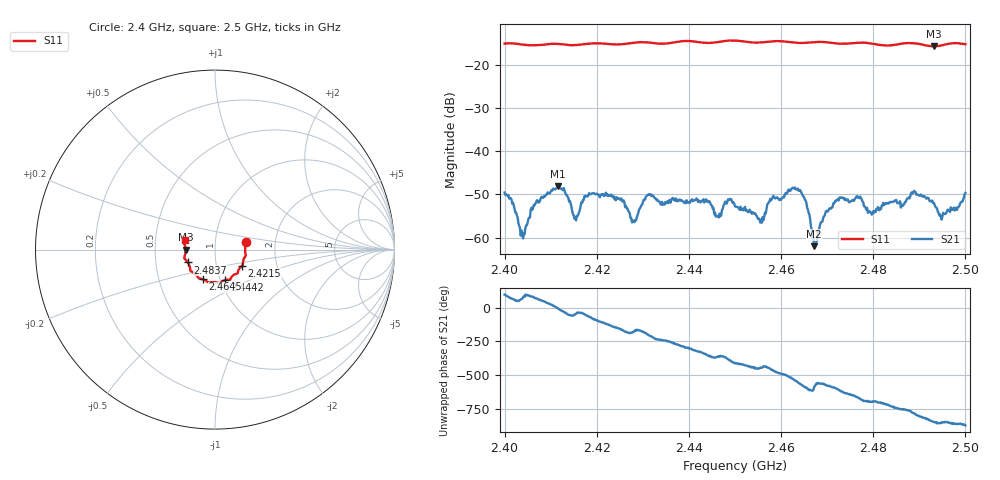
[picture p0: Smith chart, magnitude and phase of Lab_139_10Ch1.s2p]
# Hz S RI R 50
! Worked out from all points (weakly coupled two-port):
!   601 points, 2.4 GHz to 2.5 GHz, reference 50 ohm
!   highest |S21| = -48.13 dB at 2.4115 GHz (marker M1); lowest = -62.0 dB at 2.4672 GHz (marker M2)
!   lowest |S11| = -15.7 dB at 2.4932 GHz (marker M3), VSWR 1.39, Z = 36 - j0.0377 ohm
!   |S11| at or under -10 dB: start of sweep to end of sweep
!   S12 and S22 are empty: the file has one direction only
!   S11 on the Smith chart (normalised r, x): 2.4 GHz: 1.41, +0.12; 2.4215 GHz: 1.33, -0.25; 2.4442 GHz: 1.05, -0.37; 2.4645 GHz: 0.83, -0.29; 2.4837 GHz: 0.73, -0.11; 2.5 GHz: 0.71, +0.07
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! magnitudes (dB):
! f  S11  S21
! 2.4 GHz  -15.1  -49.6
! 2.404 GHz  -15.4  -60.2
! 2.4115 GHz  -15.2  -48.1
! 2.4153 GHz  -15.5  -55.2
! 2.4167 GHz  -15.3  -51.8
! 2.4215 GHz  -15.1  -50.3
! 2.428 GHz  -14.9  -56.2
! 2.4312 GHz  -14.8  -50.1
! 2.4333 GHz  -15.1  -51.4
! 2.4442 GHz  -15.0  -51.6
! 2.45 GHz  -14.4  -52.8
! 2.4557 GHz  -14.8  -55.9
! 2.458 GHz  -14.6  -51.0
! 2.4645 GHz  -15.0  -49.7
! 2.4667 GHz  -14.8  -58.1
! 2.4672 GHz  -14.8  -62.0
! 2.4725 GHz  -15.1  -51.4
! 2.4833 GHz  -15.6  -52.1
! 2.4837 GHz  -15.5  -51.7
! 2.4932 GHz  -15.7  -52.0
! 2.4952 GHz  -15.4  -54.3
! 2.5 GHz  -15.3  -49.7
